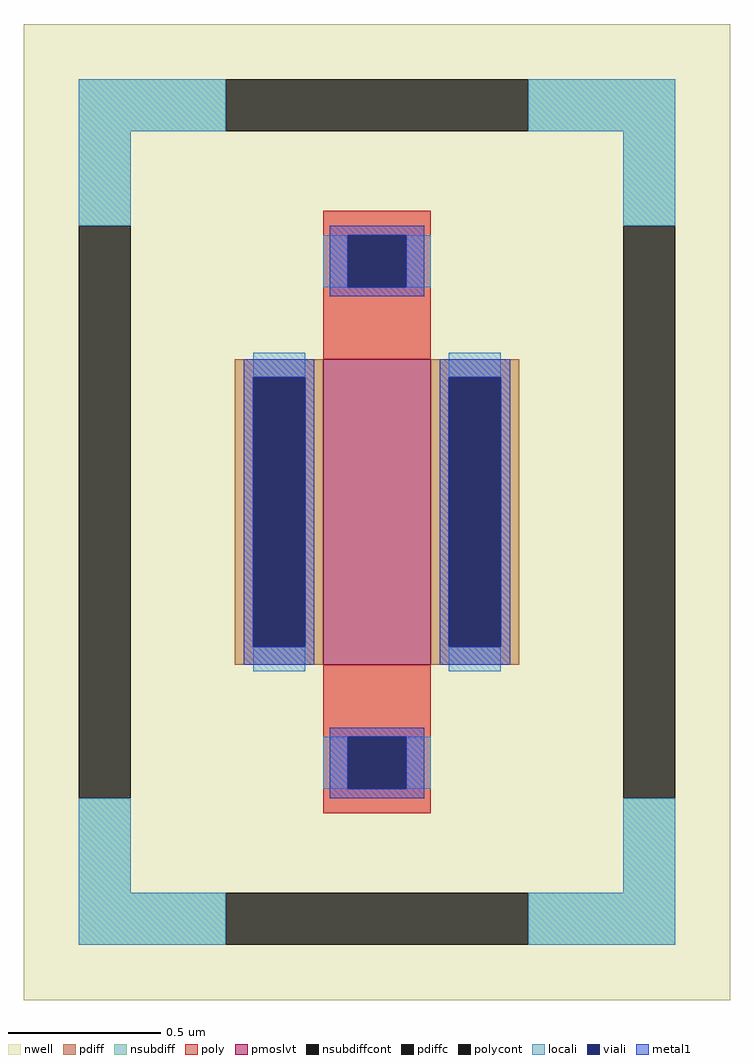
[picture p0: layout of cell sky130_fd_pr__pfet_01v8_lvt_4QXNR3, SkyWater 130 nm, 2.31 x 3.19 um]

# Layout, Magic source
magic
tech sky130A
magscale 1 2
<< nwell >>
rect -231 -319 231 319
<< pmoslvt >>
rect -35 -100 35 100
<< pdiff >>
rect -93 88 -35 100
rect -93 -88 -81 88
rect -47 -88 -35 88
rect -93 -100 -35 -88
rect 35 88 93 100
rect 35 -88 47 88
rect 81 -88 93 88
rect 35 -100 93 -88
<< pdiffc >>
rect -81 -88 -47 88
rect 47 -88 81 88
<< nsubdiff >>
rect -195 249 -99 283
rect 99 249 195 283
rect -195 187 -161 249
rect 161 187 195 249
rect -195 -249 -161 -187
rect 161 -249 195 -187
rect -195 -283 -99 -249
rect 99 -283 195 -249
<< nsubdiffcont >>
rect -99 249 99 283
rect -195 -187 -161 187
rect 161 -187 195 187
rect -99 -283 99 -249
<< poly >>
rect -35 181 35 197
rect -35 147 -19 181
rect 19 147 35 181
rect -35 100 35 147
rect -35 -147 35 -100
rect -35 -181 -19 -147
rect 19 -181 35 -147
rect -35 -197 35 -181
<< polycont >>
rect -19 147 19 181
rect -19 -181 19 -147
<< locali >>
rect -195 249 -99 283
rect 99 249 195 283
rect -195 187 -161 249
rect 161 187 195 249
rect -35 147 -19 181
rect 19 147 35 181
rect -81 88 -47 104
rect -81 -104 -47 -88
rect 47 88 81 104
rect 47 -104 81 -88
rect -35 -181 -19 -147
rect 19 -181 35 -147
rect -195 -249 -161 -187
rect 161 -249 195 -187
rect -195 -283 -99 -249
rect 99 -283 195 -249
<< viali >>
rect -19 147 19 181
rect -81 -88 -47 88
rect 47 -88 81 88
rect -19 -181 19 -147
<< metal1 >>
rect -31 181 31 187
rect -31 147 -19 181
rect 19 147 31 181
rect -31 141 31 147
rect -87 88 -41 100
rect -87 -88 -81 88
rect -47 -88 -41 88
rect -87 -100 -41 -88
rect 41 88 87 100
rect 41 -88 47 88
rect 81 -88 87 88
rect 41 -100 87 -88
rect -31 -147 31 -141
rect -31 -181 -19 -147
rect 19 -181 31 -147
rect -31 -187 31 -181
<< properties >>
string FIXED_BBOX -178 -266 178 266
string gencell sky130_fd_pr__pfet_01v8_lvt
string library sky130
string parameters w 1.0 l 0.35 m 1 nf 1 diffcov 100 polycov 100 guard 1 glc 1 grc 1 gtc 1 gbc 1 tbcov 100 rlcov 100 topc 1 botc 1 poverlap 0 doverlap 1 lmin 0.35 wmin 0.42 compatible {sky130_fd_pr__pfet_01v8  sky130_fd_pr__pfet_01v8_lvt sky130_fd_pr__pfet_01v8_hvt  sky130_fd_pr__pfet_g5v0d10v5} full_metal 1 viasrc 100 viadrn 100 viagate 100 viagb 0 viagr 0 viagl 0 viagt 0
<< end >>
